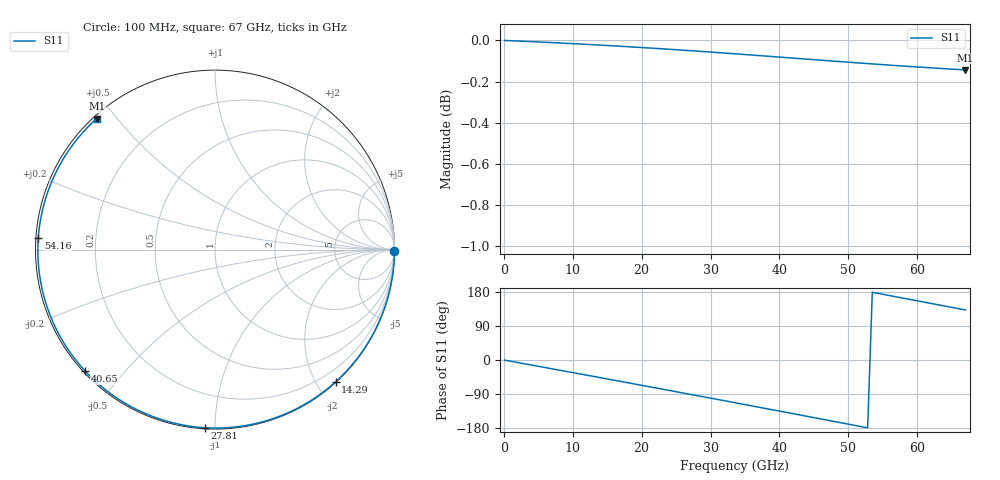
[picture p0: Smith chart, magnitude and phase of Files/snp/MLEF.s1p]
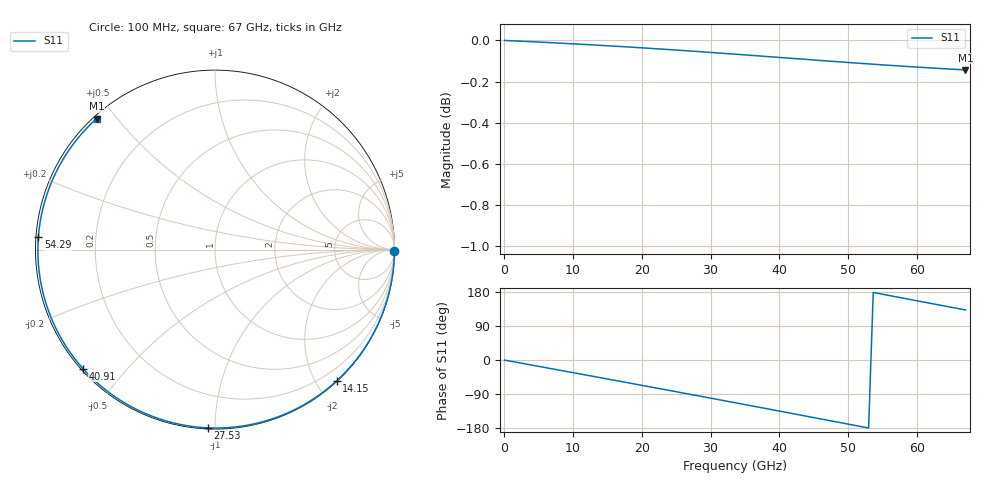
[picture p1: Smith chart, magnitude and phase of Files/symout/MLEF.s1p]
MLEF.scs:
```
simulator lang=local
global 0
NPORT0 1 0 nport file="D:\saves\Pycharm\HowToElementBuilder\Code\Files\snp\MLEF.s1p"
PORT0 1 0 port r=50 num=1 type=sine rptstart=1 rpttimes=0
SPSweep sp start=100000000 stop=67000000000 step=669000000.0 file="D:\saves\Pycharm\HowToElementBuilder\Code\Files\symout\MLEF.s1p"
DEFAULT_OPTIONS options tnom=27 temp=27  acout=0 fast_spice=0 reltol=1.000000e-003 rawfmt=nutascii
```
Files/snp/MLEF.s1p:
! Created with skrf (http://scikit-rf.org).
# Hz S RI R 50.0
!freq ReS11 ImS11
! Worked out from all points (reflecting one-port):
!   100 points, 100 MHz to 67 GHz, reference 50 ohm
!   lowest |S11| = -0.1 dB at 67 GHz (marker M1), VSWR 121.23, Z = 0.494 + j22.2 ohm
!   phase of S11 starts at -0 deg and turns -228 deg over the sweep
!   S11 on the Smith chart (normalised r, x): 100 MHz: open; 14.29 GHz: 0.01, -2.27; 27.81 GHz: 0.01, -0.95; 40.65 GHz: 0.01, -0.39; 54.16 GHz: 0.01, +0.03; 67 GHz: 0.01, +0.44
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1e8  1 -0.00581
6.857576e9  0.9206 -0.3874
1.023636e10  0.8266 -0.5594
1.429091e10  0.672 -0.7369
1.834545e10  0.4795 -0.8735
2.24e10  0.2596 -0.961
2.780606e10  -0.0551 -0.9926
3.388788e10  -0.4019 -0.9074
4.064545e10  -0.725 -0.675
4.47e10  -0.8654 -0.4796
4.94303e10  -0.964 -0.2169
5.416061e10  -0.9848 0.063
6.024242e10  -0.8954 0.411
6.7e10  -0.6593 0.7299
Files/symout/MLEF.s1p:
! Touchstone Ver. 1.0
! Number of ports is 1
# Hz  S RI  R  50
! SCATTERING PARAMETERS  :
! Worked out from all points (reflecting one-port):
!   101 points, 100 MHz to 67 GHz, reference 50 ohm
!   lowest |S11| = -0.1 dB at 67 GHz (marker M1), VSWR 121.23, Z = 0.494 + j22.2 ohm
!   phase of S11 starts at -0 deg and turns -228 deg over the sweep
!   S11 on the Smith chart (normalised r, x): 100 MHz: open; 14.15 GHz: 0.01, -2.29; 27.53 GHz: 0.01, -0.96; 40.91 GHz: 0.01, -0.38; 54.29 GHz: 0.01, +0.04; 67 GHz: 0.01, +0.44
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1e8  1 -0.00581
6.79e9  0.9221 -0.3838
1.4149e10  0.678 -0.7313
1.8832e10  0.4542 -0.8866
2.2846e10  0.2342 -0.9672
2.7529e10  -0.0388 -0.9932
3.0874e10  -0.2336 -0.9652
3.4219e10  -0.4196 -0.8991
4.0909e10  -0.7354 -0.6632
4.4923e10  -0.8715 -0.4679
4.9606e10  -0.966 -0.2066
5.4289e10  -0.9841 0.0706
6.031e10  -0.8936 0.4146
6.7e10  -0.6593 0.7299
